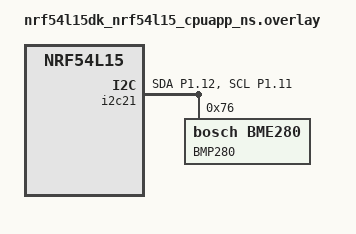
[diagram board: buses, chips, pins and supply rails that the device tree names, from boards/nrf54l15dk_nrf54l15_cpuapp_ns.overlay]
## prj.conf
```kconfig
CONFIG_CBPRINTF_FP_SUPPORT=y
CONFIG_LOG=y
CONFIG_SENSOR=y
CONFIG_I2C=y
```

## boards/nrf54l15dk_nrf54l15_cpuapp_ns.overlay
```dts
&i2c21 {
	compatible = "nordic,nrf-twim";
	status = "okay";
	pinctrl-0 = <&i2c21_default>;
	pinctrl-1 = <&i2c21_sleep>;
	pinctrl-names = "default", "sleep";

	 bmp280: bmp280@76 {
        compatible = "bosch,bme280";
        reg = <0x76>;
        label = "BMP280";
    };
};

&pinctrl {
	i2c21_default: i2c21_default {
		group1 {
			psels = <NRF_PSEL(TWIM_SDA, 1, 12)>,
				<NRF_PSEL(TWIM_SCL, 1, 11)>;
			bias-pull-up;
		};
	};

	i2c21_sleep: i2c21_sleep {
		group1 {
			psels = <NRF_PSEL(TWIM_SDA, 1, 12)>,
				<NRF_PSEL(TWIM_SCL, 1, 11)>;
			low-power-enable;
		};
	};
};
```

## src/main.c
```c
#include <zephyr/kernel.h>
#include <zephyr/device.h>
#include <zephyr/drivers/sensor.h>
#include <zephyr/logging/log.h>

LOG_MODULE_REGISTER(bmp280_sensor, LOG_LEVEL_INF);

int main(void)
{
    const struct device *bmp280 = DEVICE_DT_GET_ONE(bosch_bme280);

    if (!device_is_ready(bmp280)) {
        LOG_ERR("BMP280 device not ready");
        return -1;
    }

    LOG_INF("BMP280 driver ready");

    while (1) {
        struct sensor_value temp, press;

        if (sensor_sample_fetch(bmp280) < 0) {
            LOG_ERR("Failed to fetch sample");
            return -1;
        }

        if (sensor_channel_get(bmp280, SENSOR_CHAN_AMBIENT_TEMP, &temp) < 0) {
            LOG_ERR("Failed to get temperature");
            return -1;
        }

        if (sensor_channel_get(bmp280, SENSOR_CHAN_PRESS, &press) < 0) {
            LOG_ERR("Failed to get pressure");
            return -1;
        }

        LOG_INF("Temperature: %0.3f °C", sensor_value_to_double(&temp));
        LOG_INF("Pressure: %0.3f hPa",sensor_value_to_double(&press));
        
        k_sleep(K_MSEC(1000));
    }
}
```
